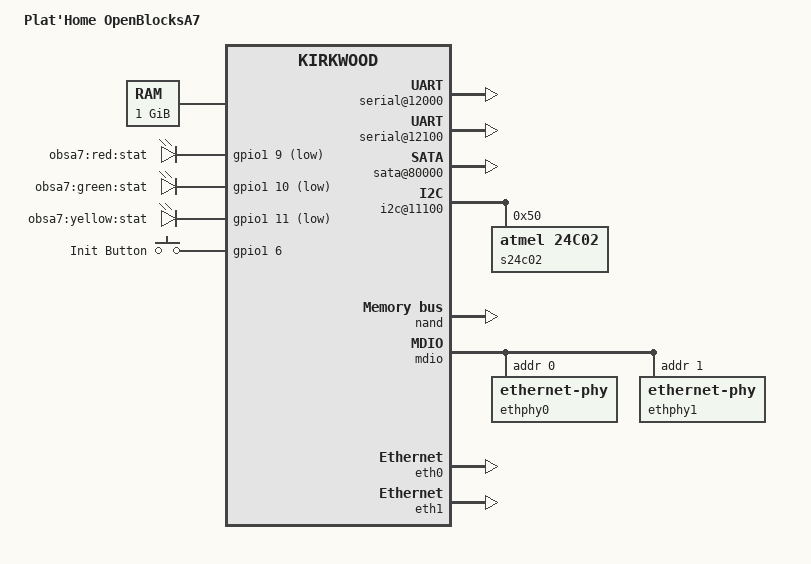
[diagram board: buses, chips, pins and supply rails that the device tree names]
/*
 * Device Tree file for OpenBlocks A7 board
 *
 * Copyright (C) 2013 Free Electrons
 *
 * Thomas Petazzoni <thomas.petazzoni@free-electrons.com>
 *
 * This file is licensed under the terms of the GNU General Public
 * License version 2.  This program is licensed "as is" without any
 * warranty of any kind, whether express or implied.
 */

/dts-v1/;

#include "kirkwood.dtsi"
#include "kirkwood-6282.dtsi"

/ {
	model = "Plat'Home OpenBlocksA7";
	compatible = "plathome,openblocks-a7", "marvell,kirkwood-88f6283", "marvell,kirkwood";

	memory {
		device_type = "memory";
		reg = <0x00000000 0x40000000>; /* 1 GB */
	};

	chosen {
		bootargs = "console=ttyS0,115200n8 earlyprintk";
		stdout-path = &uart0;
	};

	ocp@f1000000 {
		serial@12000 {
			status = "okay";
		};

		serial@12100 {
			status = "okay";
		};

		sata@80000 {
			nr-ports = <1>;
			status = "okay";
		};

		i2c@11100 {
			status = "okay";

			s24c02: s24c02@50 {
				compatible = "atmel,24c02";
				reg = <0x50>;
			};
		};

		pinctrl: pin-controller@10000 {
			pinctrl-0 = <&pmx_dip_switches &pmx_gpio_header>;
			pinctrl-names = "default";

			pmx_uart0: pmx-uart0 {
				marvell,pins = "mpp10", "mpp11", "mpp15",
					"mpp16";
				marvell,function = "uart0";
			};

			pmx_uart1: pmx-uart1 {
				marvell,pins = "mpp13", "mpp14", "mpp8",
					"mpp9";
				marvell,function = "uart1";
			};

			pmx_sysrst: pmx-sysrst {
				marvell,pins = "mpp6";
				marvell,function = "sysrst";
			};

			pmx_dip_switches: pmx-dip-switches {
				marvell,pins = "mpp44", "mpp45", "mpp46", "mpp47";
				marvell,function = "gpio";
			};

			/*
			 * Accessible on connector J202. The MPP
			 * listed below are pin 1-7, pin 8 is unused,
			 * pin 9 is external reset input and pin 10 is
			 * ground.
			 */
			pmx_gpio_header: pmx-gpio-header {
				marvell,pins = "mpp17", "mpp7", "mpp29", "mpp28",
					       "mpp35", "mpp34", "mpp40";
				marvell,function = "gpio";
			};

			pmx_gpio_init: pmx-init {
				marvell,pins = "mpp38";
				marvell,function = "gpio";
			};

			pmx_usb_oc: pmx-usb-oc {
				marvell,pins = "mpp39";
				marvell,function = "gpio";
			};

			pmx_leds: pmx-leds {
				marvell,pins = "mpp41", "mpp42", "mpp43";
				marvell,function = "gpio";
			};
		};
	};

	gpio-leds {
		compatible = "gpio-leds";
		pinctrl-0 = <&pmx_leds>;
		pinctrl-names = "default";

		led-red {
			label = "obsa7:red:stat";
			gpios = <&gpio1 9 GPIO_ACTIVE_LOW>;
		};

		led-green {
			label = "obsa7:green:stat";
			gpios = <&gpio1 10 GPIO_ACTIVE_LOW>;
		};

		led-yellow {
			label = "obsa7:yellow:stat";
			gpios = <&gpio1 11 GPIO_ACTIVE_LOW>;
		};
        };

	gpio_keys {
		compatible = "gpio-keys";
		pinctrl-0 = <&pmx_gpio_init>;
		pinctrl-names = "default";
		#address-cells = <1>;
		#size-cells = <0>;

		button@1 {
			label = "Init Button";
			linux,code = <KEY_POWER>;
			gpios = <&gpio1 6 GPIO_ACTIVE_HIGH>;
		};
	};
};

&nand {
	chip-delay = <25>;
	status = "okay";

	partition@0 {
		label = "uboot";
		reg = <0x0 0x1c0000>;
	};

	partition@1c0000 {
		label = "env";
		reg = <0x1c0000 0x2c0000>;
	};

	partition@480000 {
		label = "test";
		reg = <0x480000 0x160000>;
	};

	partition@5e0000 {
		label = "conf";
		reg = <0x5e0000 0x540000>;
	};

	partition@b20000 {
		label = "linux";
		reg = <0xb20000 0x3d40000>;
	};

	partition@4860000 {
		label = "user";
		reg = <0x4860000 0xb7a0000>;
	};
};

&mdio {
	status = "okay";

	ethphy0: ethernet-phy@0 {
		reg = <0>;
	};

	ethphy1: ethernet-phy@1 {
		reg = <1>;
	};
};

&eth0 {
	status = "okay";
	ethernet0-port@0 {
		phy-handle = <&ethphy0>;
	};
};

&eth1 {
	status = "okay";
	ethernet1-port@0 {
		phy-handle = <&ethphy1>;
	};
};
